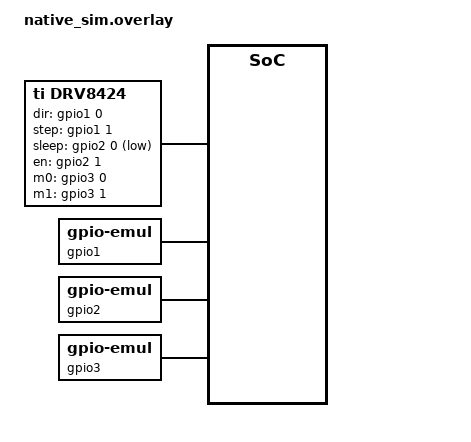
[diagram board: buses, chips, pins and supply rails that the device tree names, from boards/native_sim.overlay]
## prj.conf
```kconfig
# Copyright (c) 2024 Navimatix GmbH
# SPDX-License-Identifier: Apache-2.0

CONFIG_ZTEST=y
CONFIG_TEST=y
CONFIG_TEST_USERSPACE=y
CONFIG_LOG=y
CONFIG_STEPPER_LOG_LEVEL_DBG=y
CONFIG_STEPPER=y
CONFIG_POLL=y
CONFIG_COUNTER=y
CONFIG_GPIO=y
```

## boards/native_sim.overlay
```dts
/*
 * Copyright (c) 2024 Navimatix GmbH
 * SPDX-License-Identifier: Apache-2.0
 */

#include <zephyr/dt-bindings/gpio/gpio.h>


/ {

	drv8424: drv8424 {
		status = "okay";
		compatible = "ti,drv8424";


		dir-gpios = <&gpio1 0 0>; /* D3 */
		step-gpios = <&gpio1 1 0>; /* D4 */
		sleep-gpios = <&gpio2 0 GPIO_ACTIVE_LOW>; /* D2 */
		en-gpios = <&gpio2 1 0>; /* 5 */
		m0-gpios = <&gpio3 0 0>;
		m1-gpios = <&gpio3 1 0>;
		counter = <&counter0>;

		#address-cells = <1>;
		#size-cells = <0>;
		#stepper-motor-cells = <0>;

	};


	gpio1: gpio1 {
		compatible = "zephyr,gpio-emul";
		#gpio-cells = <0x2>;
		status = "okay";
		gpio-controller;
	};
	gpio2: gpio2 {
		compatible = "zephyr,gpio-emul";
		#gpio-cells = <0x2>;
		status = "okay";
		gpio-controller;
	};
	gpio3: gpio3 {
		compatible = "zephyr,gpio-emul";
		#gpio-cells = <0x2>;
		status = "okay";
		gpio-controller;
	};
};
```

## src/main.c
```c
/*
 * Copyright 2024 Navimatix GmbH
 *
 * SPDX-License-Identifier: Apache-2.0
 */

#include "zephyr/drivers/gpio.h"
#include "zephyr/kernel.h"
#include "zephyr/ztest_assert.h"
#include <stdbool.h>
#include <stdint.h>
#include <zephyr/ztest.h>
#include <zephyr/drivers/stepper.h>
#include <zephyr/drivers/gpio/gpio_emul.h>

struct drv8424_emul_fixture {
	const struct device *dev;
};

struct gpio_dt_spec en_pin = GPIO_DT_SPEC_GET_OR(DT_NODELABEL(drv8424), en_gpios, {0});
struct gpio_dt_spec slp_pin = GPIO_DT_SPEC_GET_OR(DT_NODELABEL(drv8424), sleep_gpios, {0});

static void *drv8424_emul_setup(void)
{
	static struct drv8424_emul_fixture fixture = {
		.dev = DEVICE_DT_GET(DT_NODELABEL(drv8424)),
	};

	zassert_not_null(fixture.dev);
	return &fixture;
}

static void drv8424_emul_before(void *f)
{
	struct drv8424_emul_fixture *fixture = f;
	(void)stepper_set_reference_position(fixture->dev, 0);
	(void)stepper_set_micro_step_res(fixture->dev, 1);
}

static void drv8424_emul_after(void *f)
{
	struct drv8424_emul_fixture *fixture = f;
	(void)stepper_run(fixture->dev, STEPPER_DIRECTION_POSITIVE, 0);
}

ZTEST_F(drv8424_emul, test_enable_on_gpio_pins)
{
	int value = 0;
	(void)stepper_enable(fixture->dev, true);
	/* As sleep and enable pins are optional, check if they exist*/
	if (en_pin.port != NULL) {
		value = gpio_emul_output_get(en_pin.port, en_pin.pin);
		zassert_equal(value, 1, "Enable pin should be set");
	}
	if (slp_pin.port != NULL) {
		value = !gpio_emul_output_get(slp_pin.port, slp_pin.pin);
		zassert_equal(value, 0, "Sleep pin should not be set");
	}
}

ZTEST_F(drv8424_emul, test_enable_off_gpio_pins)
{
	int value = 0;
	/* Enable first to ensure that disable works correctly and the check is not against values
	 * from initialisation or from previous tests
	 */
	(void)stepper_enable(fixture->dev, true);
	(void)stepper_enable(fixture->dev, false);
	/* As sleep and enable pins are optional, check if they exist*/
	if (en_pin.port != NULL) {
		value = gpio_emul_output_get(en_pin.port, en_pin.pin);
		zassert_equal(value, 0, "Enable pin should not be set");
	}
	if (slp_pin.port != NULL) {
		value = !gpio_emul_output_get(slp_pin.port, slp_pin.pin);
		zassert_equal(value, 1, "Sleep pin should be set");
	}
}

ZTEST_SUITE(drv8424_emul, NULL, drv8424_emul_setup, drv8424_emul_before, drv8424_emul_after, NULL);
```
